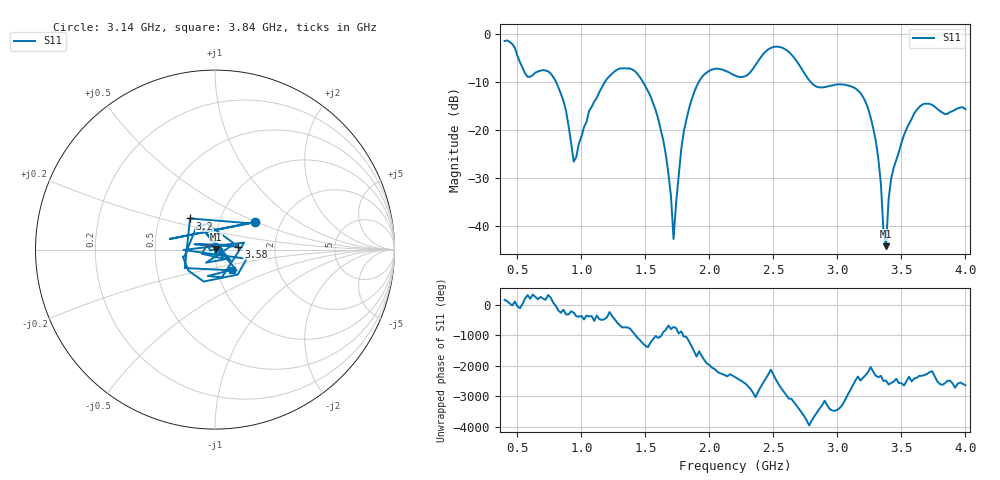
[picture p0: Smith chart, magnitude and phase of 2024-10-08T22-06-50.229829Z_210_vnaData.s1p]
! Created with skrf (http://scikit-rf.org).
# Hz S RI R 50.0
!freq ReS11 ImS11
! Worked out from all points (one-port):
!   181 points, 400 MHz to 4 GHz, reference 50 ohm
!   lowest |S11| = -44.1 dB at 3.38 GHz (marker M1), VSWR 1.01, Z = 50.5 + j0.369 ohm
!   |S11| at or under -10 dB: 802.9 MHz to 1.182 GHz (379.5 MHz wide, 38.2 % of centre); 1.482 GHz to 1.916 GHz (434.1 MHz wide, 25.5 % of centre); 2.793 GHz to end of sweep
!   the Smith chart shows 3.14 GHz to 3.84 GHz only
!   S11 on the Smith chart (normalised r, x): 3.14 GHz: 1.48, +0.49; 3.2 GHz: 0.72, +0.26; 3.58 GHz: 1.30, +0.04; 3.84 GHz: 1.18, -0.27
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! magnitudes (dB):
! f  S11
! 400 MHz  -1.4
! 580 MHz  -8.9
! 760 MHz  -8.2
! 860 MHz  -13.9
! 940 MHz  -26.5
! 1.06 GHz  -16.0
! 1.3 GHz  -7.1
! 1.44 GHz  -8.4
! 1.58 GHz  -15.8
! 1.66 GHz  -25.2
! 1.72 GHz  -42.6
! 1.76 GHz  -29.5
! 1.8 GHz  -20.3
! 1.92 GHz  -9.8
! 2.2 GHz  -8.6
! 2.5 GHz  -2.7
! 2.66 GHz  -4.9
! 2.84 GHz  -11.0
! 3.1 GHz  -10.8
! 3.14 GHz  -11.3
! 3.2 GHz  -13.1
! 3.3 GHz  -22.2
! 3.38 GHz  -44.1
! 3.42 GHz  -30.0
! 3.56 GHz  -18.6
! 3.58 GHz  -17.7
! 3.84 GHz  -16.6
! 4 GHz  -15.6
